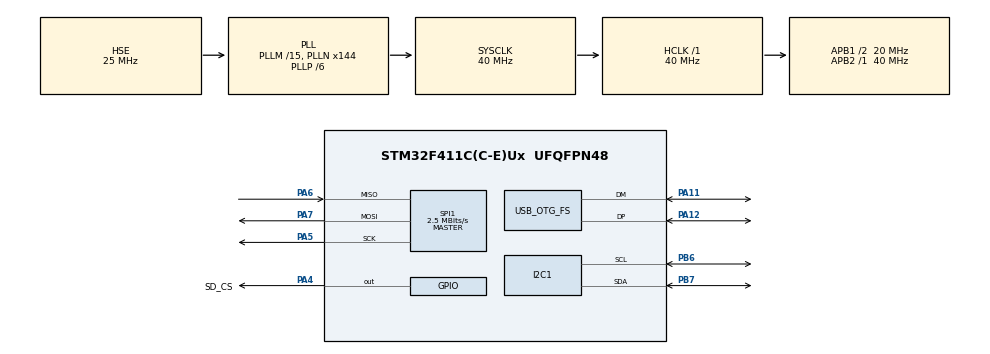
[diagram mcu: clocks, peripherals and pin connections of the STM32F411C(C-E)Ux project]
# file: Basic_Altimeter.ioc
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Mcu.Family=STM32F4
Mcu.Name=STM32F411C(C-E)Ux
Mcu.Package=UFQFPN48
NVIC.OTG_FS_IRQn=true\:0\:0\:false\:false\:true\:false\:true\:true
NVIC.PriorityGroup=NVIC_PRIORITYGROUP_4
PA11.Mode=Device_Only
PA11.Signal=USB_OTG_FS_DM
PA12.Mode=Device_Only
PA12.Signal=USB_OTG_FS_DP
PA4.GPIO_Label=SD_CS
PA4.Signal=GPIO_Output
PA5.Mode=Full_Duplex_Master
PA5.Signal=SPI1_SCK
PA6.Mode=Full_Duplex_Master
PA6.Signal=SPI1_MISO
PA7.Mode=Full_Duplex_Master
PA7.Signal=SPI1_MOSI
PB6.Mode=I2C
PB6.Signal=I2C1_SCL
PB7.Mode=I2C
PB7.Signal=I2C1_SDA
PC14-OSC32_IN.Mode=LSE-External-Oscillator
PC14-OSC32_IN.Signal=RCC_OSC32_IN
PC15-OSC32_OUT.Mode=LSE-External-Oscillator
PC15-OSC32_OUT.Signal=RCC_OSC32_OUT
PH0\ -\ OSC_IN.Mode=HSE-External-Oscillator
PH0\ -\ OSC_IN.Signal=RCC_OSC_IN
PH1\ -\ OSC_OUT.Mode=HSE-External-Oscillator
PH1\ -\ OSC_OUT.Signal=RCC_OSC_OUT
ProjectManager.HeapSize=0x200
ProjectManager.StackSize=0x400
ProjectManager.TargetToolchain=STM32CubeIDE
RCC.48MHZClocksFreq_Value=48000000
RCC.AHBFreq_Value=40000000
RCC.APB1CLKDivider=RCC_HCLK_DIV2
RCC.APB1Freq_Value=20000000
RCC.APB1TimFreq_Value=40000000
RCC.APB2Freq_Value=40000000
RCC.APB2TimFreq_Value=40000000
RCC.CortexFreq_Value=40000000
RCC.HCLKFreq_Value=40000000
RCC.HSE_VALUE=25000000
RCC.HSI_VALUE=16000000
RCC.PLLM=15
RCC.PLLN=144
RCC.PLLP=RCC_PLLP_DIV6
RCC.PLLQ=5
RCC.SYSCLKFreq_VALUE=40000000
RCC.SYSCLKSource=RCC_SYSCLKSOURCE_PLLCLK
RCC.VCOOutputFreq_Value=240000000
SPI1.BaudRatePrescaler=SPI_BAUDRATEPRESCALER_16
SPI1.CalculateBaudRate=2.5 MBits/s
SPI1.Direction=SPI_DIRECTION_2LINES
SPI1.Mode=SPI_MODE_MASTER
SPI1.VirtualType=VM_MASTER
USB_DEVICE.CLASS_NAME_FS=CDC
USB_DEVICE.VirtualMode=Cdc
USB_DEVICE.VirtualModeFS=Cdc_FS
USB_OTG_FS.VirtualMode=Device_Only
VP_FATFS_VS_Generic.Mode=User_defined
VP_USB_DEVICE_VS_USB_DEVICE_CDC_FS.Mode=CDC_FS
board=custom

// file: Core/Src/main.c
/* USER CODE BEGIN Header */
/**
  ******************************************************************************
  * @file           : main.c
  * @brief          : Main program body
  ******************************************************************************
  * @attention
  *
  * Copyright (c) 2023 STMicroelectronics.
  * All rights reserved.
  *
  * This software is licensed under terms that can be found in the LICENSE file
  * in the root directory of this software component.
  * If no LICENSE file comes with this software, it is provided AS-IS.
  *
  ******************************************************************************
  */
/* USER CODE END Header */
#include "main.h"
#include "fatfs.h"
#include "usb_device.h"

/* USER CODE BEGIN Includes */
#include "BMX055.h"
#include "bmp280.h"
#include "math.h"
#include "fatfs_sd.h"
#include "string.h"
#include "stdio.h"
/* USER CODE END Includes */

/* USER CODE BEGIN PD */
#define p0_def              101325
#define T0_def              288.15
#define Const_aire          29.270151
/* USER CODE END PD */

 I2C_HandleTypeDef hi2c1;

SPI_HandleTypeDef hspi1;

/* USER CODE BEGIN PV */

/* Barometer variables -------------------------------------------------------*/
BMP280_HandleTypedef bmp280;
/* Temperature, Humidity Pressure variables */
float pressure, temperature, humidity;
/* USER CODE END PV */

void SystemClock_Config(void);
static void MX_GPIO_Init(void);
static void MX_I2C1_Init(void);
static void MX_SPI1_Init(void);
/* USER CODE BEGIN PFP */

float BMP280_CalcularAltitud (float P, float TK);
/* USER CODE END PFP */

/* USER CODE BEGIN 0 */
BMX055_t data_BMX055;
float Altitud = 0.0;
uint8_t buffer[100] = "Hello World";
/* USER CODE END 0 */

int main(void)
{
  /* USER CODE BEGIN 1 */
	uint32_t debug = 0;
	uint8_t size = 0;
	uint8_t readData;
	uint8_t writeData;

	/* This variables are used for SD CARD */
	FATFS fs;
	FIL file;
	FRESULT res;
  /* USER CODE END 1 */

  /* MCU Configuration--------------------------------------------------------*/

  /* Reset of all peripherals, Initializes the Flash interface and the Systick. */
  HAL_Init();

  /* Configure the system clock */
  SystemClock_Config();

  /* Initialize all configured peripherals */
  MX_GPIO_Init();
  MX_I2C1_Init();
  MX_USB_DEVICE_Init();
  MX_SPI1_Init();
  MX_FATFS_Init();
  /* USER CODE BEGIN 2 */

//  SearchDevice(&hi2c1);

  uint16_t init_tries= 0;
//  while(BMX055_Init(&hi2c1) != 0 && init_tries < 30){
//	  BMX055_Init(&hi2c1);
//	  init_tries++;
////	  while(1);
//  }

  	/* BMP280 Initialization I2c Port params */
    bmp280_init_default_params(&bmp280.params);
    bmp280.addr = BMP280_I2C_ADDRESS_0;
    bmp280.i2c = &hi2c1;

    while (!bmp280_init(&bmp280, &bmp280.params) && false) {
      		size = sprintf((char *)buffer, "BMP280 initialization failed\n");
//  		HAL_UART_Transmit(&huart1, Data, size, 1000);
      		HAL_Delay(2000);
	}
	bool bme280p = bmp280.id == BME280_CHIP_ID;
	size = sprintf((char *)buffer, "BMP280: found %s\n", bme280p ? "BME280" : "BMP280");
//  	HAL_UART_Transmit(&huart1, Data, size, 1000);
//	CDC_Transmit_FS(buffer,size);		/* Transmit over USB wire */

  /** SD Section */

  // Initialize the SD card
  if (disk_initialize(0) != RES_OK) {
	  while(1);
  }

  // Mount the SD card
  if (f_mount(&fs, "", 1) != FR_OK) {
	  while(1);
  }

  // Open a file for writing
  if (f_open(&file, "test.txt", FA_CREATE_ALWAYS | FA_WRITE) != FR_OK) {
	  while(1);
  }

  // Write data to the file
  char data[] = "Hello, world!";
  UINT bytes_written;
  if (f_write(&file, data, sizeof(data), &bytes_written) != FR_OK) {
	  while(1);
  }

  // Close the file
  f_close(&file);

  // Open the file for reading
  if (f_open(&file, "test.txt", FA_READ) != FR_OK) {
	  while(1);
  }

  // Read data from the file
  char buffer[32];
  UINT bytes_read;
  if (f_read(&file, buffer, sizeof(buffer), &bytes_read) != FR_OK) {
	  while(1);
  }

  // Close the file
  f_close(&file);

  // Unmount the SD card
  f_mount(NULL, "", 0);

  /** SD END Section */

  /* USER CODE END 2 */

  /* Infinite loop */
  while (1)
  {

	  /* Read BMP280 sensor every 2s */
	  while (!bmp280_read_float(&bmp280, &temperature, &pressure, &humidity)  && false) {
		  size = sprintf((char *)buffer,
				  "Temperature/pressure reading failed\n");
//	  			HAL_UART_Transmit(&huart1, Data, size, 1000);
			CDC_Transmit_FS(buffer,size);
			HAL_Delay(2000);
		}
	size = sprintf((char *)buffer,"Pressure: %.2f Pa, Temperature: %.2f C",
			pressure, temperature);
//	CDC_Transmit_FS(buffer,size);

	Altitud = BMP280_CalcularAltitud ( pressure, 273.0 + temperature);

    /** SD Section */

    /** SD END Section */

  }
}

void SystemClock_Config(void)
{
  RCC_OscInitTypeDef RCC_OscInitStruct = {0};
  RCC_ClkInitTypeDef RCC_ClkInitStruct = {0};

  /** Configure the main internal regulator output voltage
  */
  __HAL_RCC_PWR_CLK_ENABLE();
  __HAL_PWR_VOLTAGESCALING_CONFIG(PWR_REGULATOR_VOLTAGE_SCALE1);

  /** Initializes the RCC Oscillators according to the specified parameters
  * in the RCC_OscInitTypeDef structure.
  */
  RCC_OscInitStruct.OscillatorType = RCC_OSCILLATORTYPE_HSE;
  RCC_OscInitStruct.HSEState = RCC_HSE_ON;
  RCC_OscInitStruct.PLL.PLLState = RCC_PLL_ON;
  RCC_OscInitStruct.PLL.PLLSource = RCC_PLLSOURCE_HSE;
  RCC_OscInitStruct.PLL.PLLM = 15;
  RCC_OscInitStruct.PLL.PLLN = 144;
  RCC_OscInitStruct.PLL.PLLP = RCC_PLLP_DIV6;
  RCC_OscInitStruct.PLL.PLLQ = 5;
  if (HAL_RCC_OscConfig(&RCC_OscInitStruct) != HAL_OK)
  {
    Error_Handler();
  }

  /** Initializes the CPU, AHB and APB buses clocks
  */
  RCC_ClkInitStruct.ClockType = RCC_CLOCKTYPE_HCLK|RCC_CLOCKTYPE_SYSCLK
                              |RCC_CLOCKTYPE_PCLK1|RCC_CLOCKTYPE_PCLK2;
  RCC_ClkInitStruct.SYSCLKSource = RCC_SYSCLKSOURCE_PLLCLK;
  RCC_ClkInitStruct.AHBCLKDivider = RCC_SYSCLK_DIV1;
  RCC_ClkInitStruct.APB1CLKDivider = RCC_HCLK_DIV2;
  RCC_ClkInitStruct.APB2CLKDivider = RCC_HCLK_DIV1;

  if (HAL_RCC_ClockConfig(&RCC_ClkInitStruct, FLASH_LATENCY_1) != HAL_OK)
  {
    Error_Handler();
  }
}

static void MX_I2C1_Init(void)
{

  hi2c1.Instance = I2C1;
  hi2c1.Init.ClockSpeed = 100000;
  hi2c1.Init.DutyCycle = I2C_DUTYCYCLE_2;
  hi2c1.Init.OwnAddress1 = 0;
  hi2c1.Init.AddressingMode = I2C_ADDRESSINGMODE_7BIT;
  hi2c1.Init.DualAddressMode = I2C_DUALADDRESS_DISABLE;
  hi2c1.Init.OwnAddress2 = 0;
  hi2c1.Init.GeneralCallMode = I2C_GENERALCALL_DISABLE;
  hi2c1.Init.NoStretchMode = I2C_NOSTRETCH_DISABLE;
  if (HAL_I2C_Init(&hi2c1) != HAL_OK)
  {
    Error_Handler();
  }

}

static void MX_SPI1_Init(void)
{

  /* SPI1 parameter configuration*/
  hspi1.Instance = SPI1;
  hspi1.Init.Mode = SPI_MODE_MASTER;
  hspi1.Init.Direction = SPI_DIRECTION_2LINES;
  hspi1.Init.DataSize = SPI_DATASIZE_8BIT;
  hspi1.Init.CLKPolarity = SPI_POLARITY_LOW;
  hspi1.Init.CLKPhase = SPI_PHASE_1EDGE;
  hspi1.Init.NSS = SPI_NSS_SOFT;
  hspi1.Init.BaudRatePrescaler = SPI_BAUDRATEPRESCALER_16;
  hspi1.Init.FirstBit = SPI_FIRSTBIT_MSB;
  hspi1.Init.TIMode = SPI_TIMODE_DISABLE;
  hspi1.Init.CRCCalculation = SPI_CRCCALCULATION_DISABLE;
  hspi1.Init.CRCPolynomial = 10;
  if (HAL_SPI_Init(&hspi1) != HAL_OK)
  {
    Error_Handler();
  }

}

static void MX_GPIO_Init(void)
{
  GPIO_InitTypeDef GPIO_InitStruct = {0};

  /* GPIO Ports Clock Enable */
  __HAL_RCC_GPIOC_CLK_ENABLE();
  __HAL_RCC_GPIOH_CLK_ENABLE();
  __HAL_RCC_GPIOA_CLK_ENABLE();
  __HAL_RCC_GPIOB_CLK_ENABLE();

  /*Configure GPIO pin Output Level */
  HAL_GPIO_WritePin(SD_CS_GPIO_Port, SD_CS_Pin, GPIO_PIN_RESET);

  /*Configure GPIO pin : SD_CS_Pin */
  GPIO_InitStruct.Pin = SD_CS_Pin;
  GPIO_InitStruct.Mode = GPIO_MODE_OUTPUT_PP;
  GPIO_InitStruct.Pull = GPIO_NOPULL;
  GPIO_InitStruct.Speed = GPIO_SPEED_FREQ_LOW;
  HAL_GPIO_Init(SD_CS_GPIO_Port, &GPIO_InitStruct);

}

/* USER CODE BEGIN 4 */

float BMP280_CalcularAltitud (float P, float TK)
{
    return TK * Const_aire * ((float) log (p0_def / P));
}

/* USER CODE END 4 */

void Error_Handler(void)
{
  __disable_irq();
  while (1)
  {
  }
}
